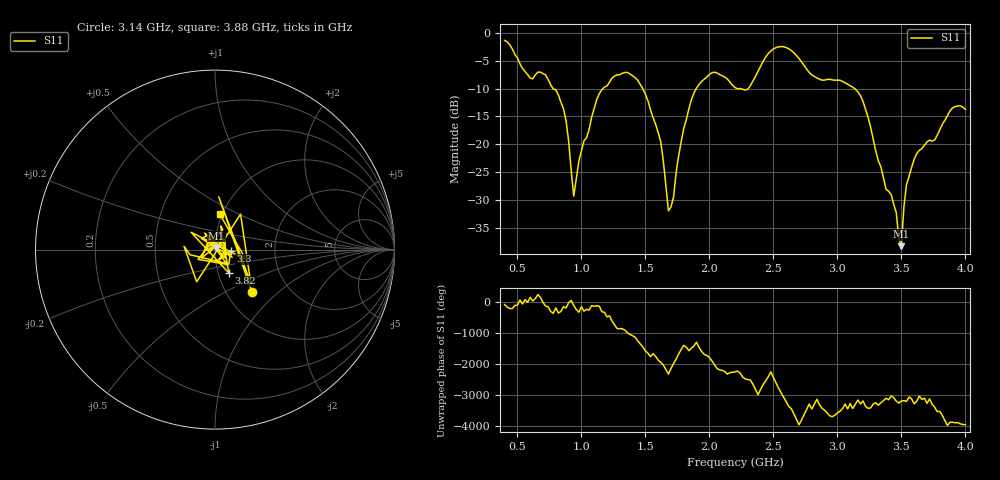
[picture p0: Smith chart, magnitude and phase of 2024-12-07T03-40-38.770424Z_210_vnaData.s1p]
!Created with skrf (http://scikit-rf.org).
# Hz S RI R 50.0
!freq ReS11 ImS11
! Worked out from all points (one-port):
!   181 points, 400 MHz to 4 GHz, reference 50 ohm
!   lowest |S11| = -38.3 dB at 3.5 GHz (marker M1), VSWR 1.02, Z = 50.7 + j0.998 ohm
!   |S11| at or under -10 dB: 778.3 MHz to 1.168 GHz (390 MHz wide, 40.1 % of centre); 1.479 GHz to 1.897 GHz (418.5 MHz wide, 24.8 % of centre); 3.135 GHz to end of sweep (the widest 3 of 5)
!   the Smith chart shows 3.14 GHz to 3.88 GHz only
!   S11 on the Smith chart (normalised r, x): 3.14 GHz: 1.31, -0.69; 3.3 GHz: 1.19, -0.02; 3.82 GHz: 1.12, -0.30; 3.88 GHz: 0.97, +0.40
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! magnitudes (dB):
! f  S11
! 400 MHz  -1.4
! 720 MHz  -7.5
! 860 MHz  -13.6
! 940 MHz  -29.3
! 980 MHz  -23.0
! 1.12 GHz  -12.0
! 1.3 GHz  -7.5
! 1.52 GHz  -12.2
! 1.62 GHz  -19.5
! 1.68 GHz  -31.9
! 1.72 GHz  -29.4
! 1.76 GHz  -22.0
! 1.92 GHz  -9.2
! 2.04 GHz  -7.1
! 2.2 GHz  -9.8
! 2.3 GHz  -10.1
! 2.5 GHz  -2.9
! 2.66 GHz  -3.6
! 3.1 GHz  -9.5
! 3.14 GHz  -10.1
! 3.3 GHz  -21.2
! 3.46 GHz  -32.3
! 3.5 GHz  -38.3
! 3.52 GHz  -31.1
! 3.56 GHz  -25.7
! 3.82 GHz  -16.4
! 3.88 GHz  -14.0
! 4 GHz  -13.7
